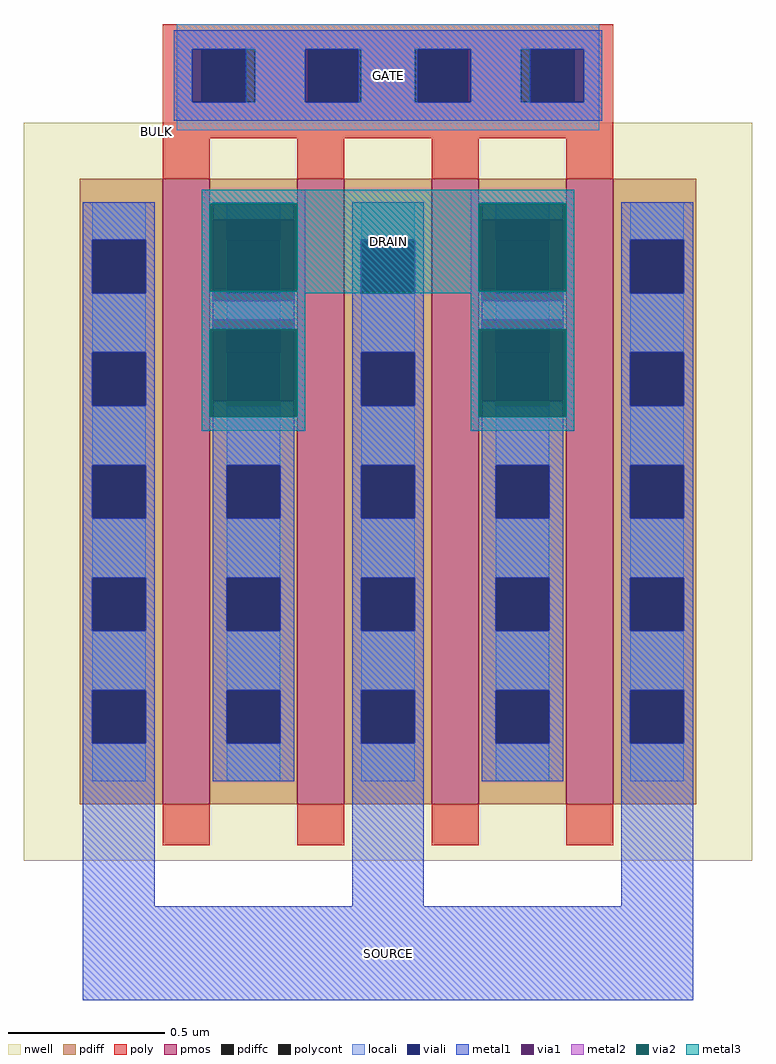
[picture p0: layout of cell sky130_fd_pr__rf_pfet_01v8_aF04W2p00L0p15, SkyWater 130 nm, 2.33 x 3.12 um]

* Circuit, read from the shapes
.subckt sky130_fd_pr__rf_pfet_01v8_aF04W2p00L0p15 DRAIN GATE SOURCE BULK
XM1 DRAIN GATE SOURCE BULK sky130_fd_pr__pfet_01v8 w=2 l=0.15 m=4
.ends

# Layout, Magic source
magic
tech sky130A
magscale 1 2
<< nwell >>
rect 0 0 466 472
<< pmos >>
rect 89 36 119 436
rect 175 36 205 436
rect 261 36 291 436
rect 347 36 377 436
<< pdiff >>
rect 36 397 89 436
rect 36 363 44 397
rect 78 363 89 397
rect 36 325 89 363
rect 36 291 44 325
rect 78 291 89 325
rect 36 253 89 291
rect 36 219 44 253
rect 78 219 89 253
rect 36 181 89 219
rect 36 147 44 181
rect 78 147 89 181
rect 36 109 89 147
rect 36 75 44 109
rect 78 75 89 109
rect 36 36 89 75
rect 119 397 175 436
rect 119 363 130 397
rect 164 363 175 397
rect 119 325 175 363
rect 119 291 130 325
rect 164 291 175 325
rect 119 253 175 291
rect 119 219 130 253
rect 164 219 175 253
rect 119 181 175 219
rect 119 147 130 181
rect 164 147 175 181
rect 119 109 175 147
rect 119 75 130 109
rect 164 75 175 109
rect 119 36 175 75
rect 205 397 261 436
rect 205 363 216 397
rect 250 363 261 397
rect 205 325 261 363
rect 205 291 216 325
rect 250 291 261 325
rect 205 253 261 291
rect 205 219 216 253
rect 250 219 261 253
rect 205 181 261 219
rect 205 147 216 181
rect 250 147 261 181
rect 205 109 261 147
rect 205 75 216 109
rect 250 75 261 109
rect 205 36 261 75
rect 291 397 347 436
rect 291 363 302 397
rect 336 363 347 397
rect 291 325 347 363
rect 291 291 302 325
rect 336 291 347 325
rect 291 253 347 291
rect 291 219 302 253
rect 336 219 347 253
rect 291 181 347 219
rect 291 147 302 181
rect 336 147 347 181
rect 291 109 347 147
rect 291 75 302 109
rect 336 75 347 109
rect 291 36 347 75
rect 377 397 430 436
rect 377 363 388 397
rect 422 363 430 397
rect 377 325 430 363
rect 377 291 388 325
rect 422 291 430 325
rect 377 253 430 291
rect 377 219 388 253
rect 422 219 430 253
rect 377 181 430 219
rect 377 147 388 181
rect 422 147 430 181
rect 377 109 430 147
rect 377 75 388 109
rect 422 75 430 109
rect 377 36 430 75
<< pdiffc >>
rect 44 363 78 397
rect 44 291 78 325
rect 44 219 78 253
rect 44 147 78 181
rect 44 75 78 109
rect 130 363 164 397
rect 130 291 164 325
rect 130 219 164 253
rect 130 147 164 181
rect 130 75 164 109
rect 216 363 250 397
rect 216 291 250 325
rect 216 219 250 253
rect 216 147 250 181
rect 216 75 250 109
rect 302 363 336 397
rect 302 291 336 325
rect 302 219 336 253
rect 302 147 336 181
rect 302 75 336 109
rect 388 363 422 397
rect 388 291 422 325
rect 388 219 422 253
rect 388 147 422 181
rect 388 75 422 109
<< poly >>
rect 89 519 377 535
rect 89 485 114 519
rect 148 485 182 519
rect 216 485 250 519
rect 284 485 318 519
rect 352 485 377 519
rect 89 462 377 485
rect 89 436 119 462
rect 175 436 205 462
rect 261 436 291 462
rect 347 436 377 462
rect 89 10 119 36
rect 175 10 205 36
rect 261 10 291 36
rect 347 10 377 36
<< polycont >>
rect 114 485 148 519
rect 182 485 216 519
rect 250 485 284 519
rect 318 485 352 519
<< locali >>
rect 98 519 368 535
rect 98 485 108 519
rect 148 485 180 519
rect 216 485 250 519
rect 286 485 318 519
rect 358 485 368 519
rect 98 467 368 485
rect 44 397 78 421
rect 44 325 78 363
rect 44 253 78 291
rect 44 181 78 219
rect 44 109 78 147
rect 44 51 78 75
rect 130 397 164 421
rect 130 325 164 363
rect 130 253 164 291
rect 130 181 164 219
rect 130 109 164 147
rect 130 51 164 75
rect 216 397 250 421
rect 216 325 250 363
rect 216 253 250 291
rect 216 181 250 219
rect 216 109 250 147
rect 216 51 250 75
rect 302 397 336 421
rect 302 325 336 363
rect 302 253 336 291
rect 302 181 336 219
rect 302 109 336 147
rect 302 51 336 75
rect 388 397 422 421
rect 388 325 422 363
rect 388 253 422 291
rect 388 181 422 219
rect 388 109 422 147
rect 388 51 422 75
<< viali >>
rect 108 485 114 519
rect 114 485 142 519
rect 180 485 182 519
rect 182 485 214 519
rect 252 485 284 519
rect 284 485 286 519
rect 324 485 352 519
rect 352 485 358 519
rect 44 363 78 397
rect 44 291 78 325
rect 44 219 78 253
rect 44 147 78 181
rect 44 75 78 109
rect 130 363 164 397
rect 130 291 164 325
rect 130 219 164 253
rect 130 147 164 181
rect 130 75 164 109
rect 216 363 250 397
rect 216 291 250 325
rect 216 219 250 253
rect 216 147 250 181
rect 216 75 250 109
rect 302 363 336 397
rect 302 291 336 325
rect 302 219 336 253
rect 302 147 336 181
rect 302 75 336 109
rect 388 363 422 397
rect 388 291 422 325
rect 388 219 422 253
rect 388 147 422 181
rect 388 75 422 109
<< metal1 >>
rect 96 519 370 531
rect 96 485 108 519
rect 142 485 180 519
rect 214 485 252 519
rect 286 485 324 519
rect 358 485 370 519
rect 96 473 370 485
rect 38 397 84 421
rect 38 363 44 397
rect 78 363 84 397
rect 38 325 84 363
rect 38 291 44 325
rect 78 291 84 325
rect 38 253 84 291
rect 38 219 44 253
rect 78 219 84 253
rect 38 181 84 219
rect 38 147 44 181
rect 78 147 84 181
rect 38 109 84 147
rect 38 75 44 109
rect 78 75 84 109
rect 38 -29 84 75
rect 121 410 173 421
rect 121 346 173 358
rect 121 291 130 294
rect 164 291 173 294
rect 121 253 173 291
rect 121 219 130 253
rect 164 219 173 253
rect 121 181 173 219
rect 121 147 130 181
rect 164 147 173 181
rect 121 109 173 147
rect 121 75 130 109
rect 164 75 173 109
rect 121 51 173 75
rect 210 397 256 421
rect 210 363 216 397
rect 250 363 256 397
rect 210 325 256 363
rect 210 291 216 325
rect 250 291 256 325
rect 210 253 256 291
rect 210 219 216 253
rect 250 219 256 253
rect 210 181 256 219
rect 210 147 216 181
rect 250 147 256 181
rect 210 109 256 147
rect 210 75 216 109
rect 250 75 256 109
rect 210 -29 256 75
rect 293 410 345 421
rect 293 346 345 358
rect 293 291 302 294
rect 336 291 345 294
rect 293 253 345 291
rect 293 219 302 253
rect 336 219 345 253
rect 293 181 345 219
rect 293 147 302 181
rect 336 147 345 181
rect 293 109 345 147
rect 293 75 302 109
rect 336 75 345 109
rect 293 51 345 75
rect 382 397 428 421
rect 382 363 388 397
rect 422 363 428 397
rect 382 325 428 363
rect 382 291 388 325
rect 422 291 428 325
rect 382 253 428 291
rect 382 219 388 253
rect 422 219 428 253
rect 382 181 428 219
rect 382 147 388 181
rect 422 147 428 181
rect 382 109 428 147
rect 382 75 388 109
rect 422 75 428 109
rect 382 -29 428 75
rect 38 -89 428 -29
<< via1 >>
rect 121 397 173 410
rect 121 363 130 397
rect 130 363 164 397
rect 164 363 173 397
rect 121 358 173 363
rect 121 325 173 346
rect 121 294 130 325
rect 130 294 164 325
rect 164 294 173 325
rect 293 397 345 410
rect 293 363 302 397
rect 302 363 336 397
rect 336 363 345 397
rect 293 358 345 363
rect 293 325 345 346
rect 293 294 302 325
rect 302 294 336 325
rect 336 294 345 325
<< metal2 >>
rect 114 420 180 429
rect 114 364 119 420
rect 175 364 180 420
rect 114 358 121 364
rect 173 358 180 364
rect 114 346 180 358
rect 114 340 121 346
rect 173 340 180 346
rect 114 284 119 340
rect 175 284 180 340
rect 114 275 180 284
rect 286 420 352 429
rect 286 364 291 420
rect 347 364 352 420
rect 286 358 293 364
rect 345 358 352 364
rect 286 346 352 358
rect 286 340 293 346
rect 345 340 352 346
rect 286 284 291 340
rect 347 284 352 340
rect 286 275 352 284
<< via2 >>
rect 119 410 175 420
rect 119 364 121 410
rect 121 364 173 410
rect 173 364 175 410
rect 119 294 121 340
rect 121 294 173 340
rect 173 294 175 340
rect 119 284 175 294
rect 291 410 347 420
rect 291 364 293 410
rect 293 364 345 410
rect 345 364 347 410
rect 291 294 293 340
rect 293 294 345 340
rect 345 294 347 340
rect 291 284 347 294
<< metal3 >>
rect 114 420 352 429
rect 114 364 119 420
rect 175 364 291 420
rect 347 364 352 420
rect 114 363 352 364
rect 114 340 180 363
rect 114 284 119 340
rect 175 284 180 340
rect 114 275 180 284
rect 286 340 352 363
rect 286 284 291 340
rect 347 284 352 340
rect 286 275 352 284
<< labels >>
flabel metal3 s 114 363 352 429 0 FreeSans 400 0 0 0 DRAIN
port 1 nsew
flabel metal1 s 96 473 370 531 0 FreeSans 400 0 0 0 GATE
port 2 nsew
flabel metal1 s 38 -89 428 -29 0 FreeSans 400 0 0 0 SOURCE
port 3 nsew
flabel nwell s 83 463 87 470 0 FreeSans 400 0 0 0 BULK
port 4 nsew
<< properties >>
string GDS_FILE $PDKPATH/libs.ref/sky130_fd_pr/gds/sky130_fd_pr.gds
string GDS_END 9229374
string GDS_START 9220774
string path 7.975 10.525 7.975 1.275 
<< end >>
